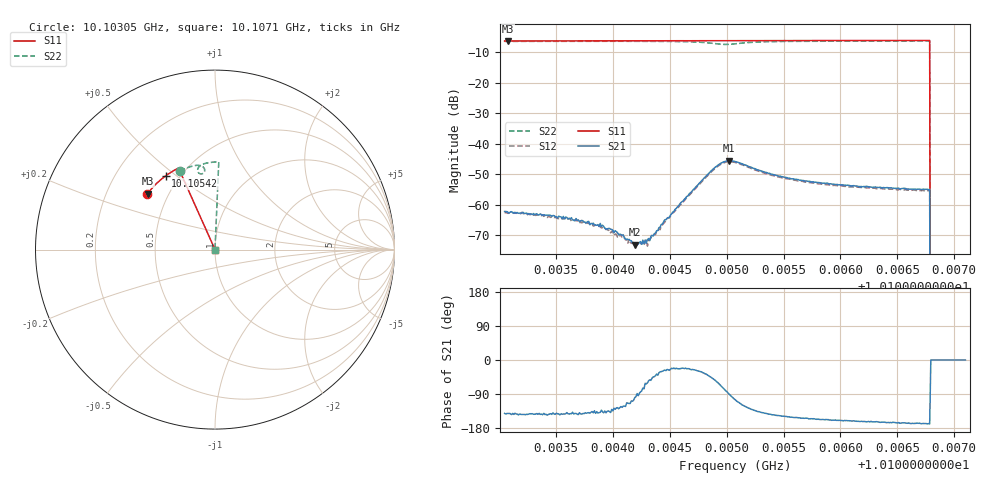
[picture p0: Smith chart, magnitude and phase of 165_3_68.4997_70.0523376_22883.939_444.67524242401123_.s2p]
#  HZ  S  RI  R  50.00
! Rohde & Schwarz Vector Network Analyzer
! Rohde-Schwarz,ZNB20-2Port,1311601062101988,3.16
! Created: UTC 3/20/2024, 5:11:06 PM
! freq[Hz]  re:S11  im:S11  re:S21  im:S21  re:S12  im:S12  re:S22  im:S22
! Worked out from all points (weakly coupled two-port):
!   401 points, 10.10305 GHz to 10.1071 GHz, reference 50 ohm
!   highest |S21| = -45.54 dB at 10.10502 GHz (marker M1); lowest = -73.2 dB at 10.10419 GHz (marker M2)
!   lowest |S11| = -6.2 dB at 10.10308 GHz (marker M3), VSWR 2.91, Z = 19.2 + j15.7 ohm
!   |S11| at or under -10 dB: 10.10678 GHz to end of sweep
!   |S22| runs from - to -6.2 dB; largest |S21 - S12| = 0.00054
!   S11 on the Smith chart (normalised r, x): 10.10305 GHz: 0.38, +0.31; 10.10542 GHz: 0.42, +0.46; 10.1071 GHz: 1.00, +0.00
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1.0103046e10  -0.3763 0.3108  -0.000601 -0.000486  -0.000538 -0.000513  -0.1972 0.438
1.0103077e10  -0.375 0.3123  -0.00058 -0.000469  -0.00053 -0.000483  -0.1954 0.4388
1.0103391e10  -0.3631 0.3274  -0.000528 -0.000429  -0.000475 -0.000431  -0.1763 0.4478
1.0103725e10  -0.3501 0.3428  -0.000437 -0.000334  -0.000369 -0.00034  -0.155 0.4563
1.0103867e10  -0.3442 0.3493  -0.000359 -0.000302  -0.000312 -0.000329  -0.1456 0.4596
1.0103978e10  -0.3396 0.3542  -0.000295 -0.000261  -0.000215 -0.000269  -0.1381 0.462
1.0104191e10  -0.3306 0.3634  -3.51e-05 -0.000217  -3.47e-05 -0.000218  -0.1225 0.4661
1.0104292e10  -0.3263 0.3676  0.000105 -0.000207  0.000142 -0.000219  -0.1147 0.4676
1.0104343e10  -0.3241 0.3698  0.000211 -0.000232  0.000224 -0.000211  -0.1103 0.4685
1.0104404e10  -0.3213 0.3724  0.000348 -0.000232  0.000337 -0.00021  -0.1053 0.469
1.0104586e10  -0.313 0.3799  0.00094 -0.0004  0.000932 -0.00028  -0.0875 0.4692
1.010487e10  -0.3 0.3911  0.00249 -0.00271  0.00263 -0.00236  -0.0574 0.444
1.0104951e10  -0.2962 0.394  0.00175 -0.0045  0.00208 -0.00413  -0.0641 0.4264
1.0105022e10  -0.293 0.3965  -4.49e-05 -0.00528  0.000446 -0.00506  -0.0816 0.4222
1.0105072e10  -0.2906 0.3985  -0.00128 -0.00493  -0.000788 -0.00488  -0.092 0.4287
1.0105417e10  -0.2742 0.4113  -0.00253 -0.00178  -0.00228 -0.00189  -0.0778 0.4708
1.0105751e10  -0.2576 0.423  -0.00215 -0.000994  -0.00198 -0.00111  -0.0506 0.4811
1.0106177e10  -0.2357 0.4367  -0.00189 -0.000604  -0.00176 -0.000751  -0.02 0.4863
1.010643e10  -0.2225 0.4442  -0.00182 -0.000473  -0.00168 -0.000622  -0.00247 0.4878
1.0106764e10  -0.2044 0.4537  -0.00175 -0.000357  -0.00162 -0.000507  0.0199 0.4886
1.0106815e10  0 0  0 0  0 0  0 0
1.0107099e10  0 0  0 0  0 0  0 0
